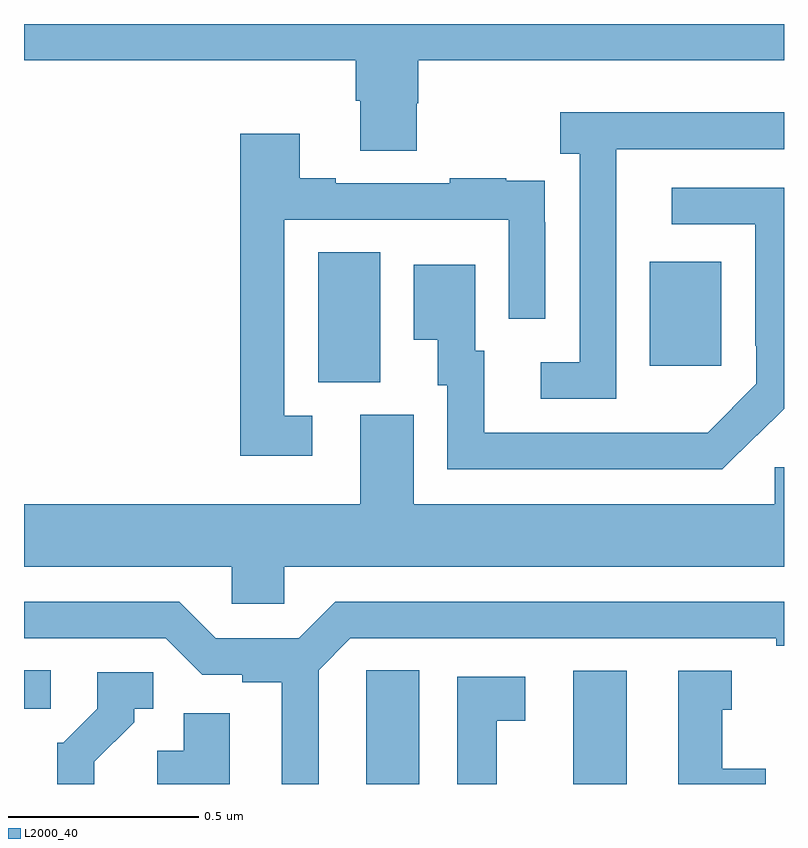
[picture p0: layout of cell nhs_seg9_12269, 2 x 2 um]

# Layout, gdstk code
import gdstk
lib = gdstk.Library(unit=1e-6, precision=1e-09)
def R(c, l, rs):  # rectangles x0, y0, x1, y1
    for r in rs: c.add(gdstk.rectangle(r[:2], r[2:], *l))
def P(c, l, *ps):  # polygons
    for p in ps: c.add(gdstk.Polygon(p, *l))
L2000_40 = (2000, 40)

nhs_seg9_12269 = lib.new_cell('nhs_seg9_12269')
R(nhs_seg9_12269, L2000_40, [(267.446,1210.5,267.586,1210.798), (266,1210.698,266.071,1210.799), (266.774,1211.557,266.938,1211.9), (267.647,1211.601,267.835,1211.875)])
P(nhs_seg9_12269, L2000_40, [(267.033,1212.291),(267.038,1212.291),(267.038,1212.404),(268,1212.404),(268,1212.5),(266,1212.5),(266,1212.404),(266.873,1212.404),(266.873,1212.298),(266.885,1212.298),(266.885,1212.166),(267.033,1212.166)],
  [(267.558,1211.971),(267.559,1211.971),(267.559,1212.171),(268,1212.171),(268,1212.268),(267.411,1212.268),(267.411,1212.158),(267.462,1212.158),(267.462,1211.61),(267.36,1211.61),(267.36,1211.514),(267.558,1211.514)],
  [(266.758,1211.469),(266.685,1211.469),(266.685,1211.985),(267.276,1211.985),(267.276,1211.724),(267.372,1211.724),(267.372,1211.978),(267.371,1211.978),(267.371,1212.087),(267.269,1212.087),(267.269,1212.094),(267.121,1212.094),(267.121,1212.081),(266.821,1212.081),(266.821,1212.094),(266.725,1212.094),(266.725,1212.211),(266.569,1212.211),(266.569,1211.364),(266.758,1211.364)],
  [(267.929,1211.419),(267.93,1211.418),(268,1211.488),(268,1212.069),(267.705,1212.069),(267.705,1211.973),(267.924,1211.973),(267.924,1211.653),(267.927,1211.653),(267.927,1211.553),(267.799,1211.425),(267.695,1211.425),(267.695,1211.424),(267.211,1211.424),(267.211,1211.64),(267.187,1211.64),(267.187,1211.866),(267.026,1211.866),(267.026,1211.669),(267.089,1211.669),(267.089,1211.55),(267.114,1211.55),(267.114,1211.328),(267.838,1211.328)],
  [(266.685,1211.072),(268,1211.072),(268,1211.334),(267.975,1211.334),(267.975,1211.236),(267.025,1211.236),(267.025,1211.472),(266.885,1211.472),(266.885,1211.236),(266,1211.236),(266,1211.072),(266.547,1211.072),(266.547,1210.974),(266.685,1210.974)],
  [(266.775,1210.8),(266.859,1210.884),(267.98,1210.884),(267.98,1210.864),(268,1210.864),(268,1210.98),(266.819,1210.98),(266.723,1210.884),(266.505,1210.884),(266.409,1210.98),(266,1210.98),(266,1210.884),(266.373,1210.884),(266.469,1210.788),(266.574,1210.788),(266.574,1210.768),(266.678,1210.768),(266.678,1210.5),(266.775,1210.5)],
  [(267.04,1210.799),(266.901,1210.799),(266.901,1210.691),(266.9,1210.691),(266.9,1210.5),(267.04,1210.5)],
  [(267.952,1210.54),(267.838,1210.54),(267.838,1210.695),(267.862,1210.695),(267.862,1210.798),(267.722,1210.798),(267.722,1210.5),(267.952,1210.5)],
  [(266.185,1210.558),(266.29,1210.663),(266.29,1210.698),(266.34,1210.698),(266.34,1210.794),(266.193,1210.794),(266.193,1210.698),(266.103,1210.608),(266.088,1210.608),(266.088,1210.5),(266.185,1210.5)],
  [(267.244,1210.666),(267.319,1210.666),(267.319,1210.782),(267.14,1210.782),(267.14,1210.5),(267.244,1210.5)],
  [(266.542,1210.686),(266.42,1210.686),(266.42,1210.588),(266.351,1210.588),(266.351,1210.5),(266.542,1210.5)])

lib.write_gds('nhs_seg9_12269.gds')
